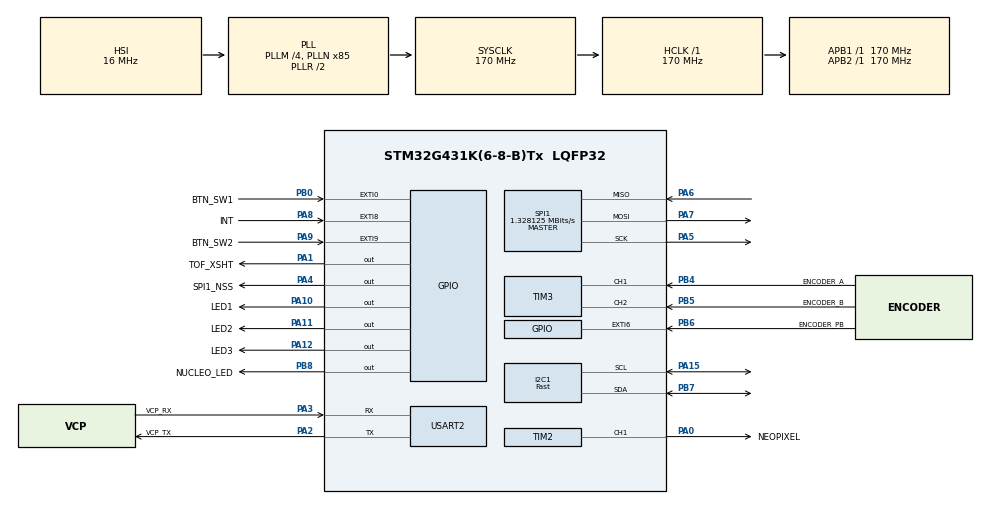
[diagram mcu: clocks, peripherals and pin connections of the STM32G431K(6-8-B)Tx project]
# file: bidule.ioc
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Dma.Request0=TIM2_CH1
Dma.Request1=TIM3_UP
Dma.TIM2_CH1.0.Direction=DMA_MEMORY_TO_PERIPH
Dma.TIM2_CH1.0.EventEnable=DISABLE
Dma.TIM2_CH1.0.Instance=DMA1_Channel1
Dma.TIM2_CH1.0.MemDataAlignment=DMA_MDATAALIGN_BYTE
Dma.TIM2_CH1.0.MemInc=DMA_MINC_ENABLE
Dma.TIM2_CH1.0.Mode=DMA_CIRCULAR
Dma.TIM2_CH1.0.PeriphDataAlignment=DMA_PDATAALIGN_WORD
Dma.TIM2_CH1.0.PeriphInc=DMA_PINC_DISABLE
Dma.TIM2_CH1.0.Polarity=HAL_DMAMUX_REQ_GEN_RISING
Dma.TIM2_CH1.0.Priority=DMA_PRIORITY_LOW
Dma.TIM2_CH1.0.RequestNumber=1
Dma.TIM2_CH1.0.SignalID=NONE
Dma.TIM2_CH1.0.SyncEnable=DISABLE
Dma.TIM2_CH1.0.SyncPolarity=HAL_DMAMUX_SYNC_NO_EVENT
Dma.TIM2_CH1.0.SyncRequestNumber=1
Dma.TIM2_CH1.0.SyncSignalID=NONE
Dma.TIM3_UP.1.Direction=DMA_PERIPH_TO_MEMORY
Dma.TIM3_UP.1.EventEnable=DISABLE
Dma.TIM3_UP.1.Instance=DMA1_Channel2
Dma.TIM3_UP.1.MemDataAlignment=DMA_MDATAALIGN_HALFWORD
Dma.TIM3_UP.1.MemInc=DMA_MINC_ENABLE
Dma.TIM3_UP.1.Mode=DMA_NORMAL
Dma.TIM3_UP.1.PeriphDataAlignment=DMA_PDATAALIGN_HALFWORD
Dma.TIM3_UP.1.PeriphInc=DMA_PINC_DISABLE
Dma.TIM3_UP.1.Polarity=HAL_DMAMUX_REQ_GEN_RISING
Dma.TIM3_UP.1.Priority=DMA_PRIORITY_LOW
Dma.TIM3_UP.1.RequestNumber=1
Dma.TIM3_UP.1.SignalID=NONE
Dma.TIM3_UP.1.SyncEnable=DISABLE
Dma.TIM3_UP.1.SyncPolarity=HAL_DMAMUX_SYNC_NO_EVENT
Dma.TIM3_UP.1.SyncRequestNumber=1
Dma.TIM3_UP.1.SyncSignalID=NONE
I2C1.I2C_Speed_Mode=I2C_Fast
I2C1.Timing=0x40621236
Mcu.Family=STM32G4
Mcu.Name=STM32G431K(6-8-B)Tx
Mcu.Package=LQFP32
NVIC.DMA1_Channel1_IRQn=true\:0\:0\:false\:false\:true\:false\:true\:true
NVIC.DMA1_Channel2_IRQn=true\:0\:0\:false\:false\:true\:false\:true\:true
NVIC.EXTI0_IRQn=true\:0\:0\:false\:false\:true\:true\:true\:true
NVIC.EXTI9_5_IRQn=true\:0\:0\:false\:false\:true\:true\:true\:true
NVIC.I2C1_ER_IRQn=true\:0\:0\:false\:false\:true\:true\:true\:true
NVIC.I2C1_EV_IRQn=true\:0\:0\:false\:false\:true\:true\:true\:true
NVIC.PriorityGroup=NVIC_PRIORITYGROUP_4
NVIC.TIM2_IRQn=true\:0\:0\:false\:false\:true\:true\:true\:true
NVIC.TIM3_IRQn=true\:0\:0\:false\:false\:true\:true\:true\:true
PA0.GPIO_Label=NEOPIXEL
PA0.Signal=S_TIM2_CH1
PA1.GPIO_Label=TOF_XSHT
PA1.Signal=GPIO_Output
PA10.GPIO_Label=LED1
PA10.Signal=GPIO_Output
PA11.GPIO_Label=LED2
PA11.Signal=GPIO_Output
PA12.GPIO_Label=LED3
PA12.Signal=GPIO_Output
PA13.GPIO_Label=T_SWDIO
PA13.Mode=Trace_Asynchronous_SW
PA13.Signal=SYS_JTMS-SWDIO
PA14.GPIO_Label=T_SWCLK
PA14.Mode=Trace_Asynchronous_SW
PA14.Signal=SYS_JTCK-SWCLK
PA15.GPIO_Pu=GPIO_PULLUP
PA15.Mode=I2C
PA15.Signal=I2C1_SCL
PA2.GPIO_Label=VCP_TX
PA2.Mode=Asynchronous
PA2.Signal=USART2_TX
PA3.GPIO_Label=VCP_RX
PA3.Mode=Asynchronous
PA3.Signal=USART2_RX
PA4.GPIO_Label=SPI1_NSS
PA4.PinState=GPIO_PIN_SET
PA4.Signal=GPIO_Output
PA5.GPIO_Speed=GPIO_SPEED_FREQ_LOW
PA5.Mode=Full_Duplex_Master
PA5.Signal=SPI1_SCK
PA6.GPIO_Speed=GPIO_SPEED_FREQ_LOW
PA6.Mode=Full_Duplex_Master
PA6.Signal=SPI1_MISO
PA7.GPIO_Speed=GPIO_SPEED_FREQ_LOW
PA7.Mode=Full_Duplex_Master
PA7.Signal=SPI1_MOSI
PA8.GPIO_Label=INT
PA8.Signal=GPXTI8
PA9.GPIO_Label=BTN_SW2
PA9.GPIO_ModeDefaultEXTI=GPIO_MODE_IT_FALLING
PA9.GPIO_PuPd=GPIO_PULLUP
PA9.Signal=GPXTI9
PB0.GPIO_Label=BTN_SW1
PB0.GPIO_ModeDefaultEXTI=GPIO_MODE_IT_FALLING
PB0.GPIO_PuPd=GPIO_PULLUP
PB0.Signal=GPXTI0
PB3.GPIO_Label=T_SWO
PB3.Mode=Trace_Asynchronous_SW
PB3.Signal=SYS_JTDO-SWO
PB4.GPIO_Label=ENCODER_A
PB4.GPIO_PuPd=GPIO_PULLUP
PB4.Signal=S_TIM3_CH1
PB5.GPIO_Label=ENCODER_B
PB5.GPIO_PuPd=GPIO_PULLUP
PB5.Signal=S_TIM3_CH2
PB6.GPIO_Label=ENCODER_PB
PB6.GPIO_PuPd=GPIO_PULLUP
PB6.Signal=GPXTI6
PB7.GPIO_Pu=GPIO_PULLUP
PB7.Mode=I2C
PB7.Signal=I2C1_SDA
PB8-BOOT0.GPIO_Label=NUCLEO_LED
PB8-BOOT0.Signal=GPIO_Output
ProjectManager.HeapSize=0x200
ProjectManager.StackSize=0x400
ProjectManager.TargetToolchain=CMake
RCC.ADC12Freq_Value=170000000
RCC.AHBFreq_Value=170000000
RCC.APB1Freq_Value=170000000
RCC.APB1TimFreq_Value=170000000
RCC.APB2Freq_Value=170000000
RCC.APB2TimFreq_Value=170000000
RCC.CortexFreq_Value=170000000
RCC.EXTERNAL_CLOCK_VALUE=12288000
RCC.HCLKFreq_Value=170000000
RCC.HSE_VALUE=8000000
RCC.HSI48_VALUE=48000000
RCC.HSI_VALUE=16000000
RCC.LSE_VALUE=32768
RCC.PLLM=RCC_PLLM_DIV4
RCC.PLLN=85
RCC.SYSCLKFreq_VALUE=170000000
RCC.SYSCLKSource=RCC_SYSCLKSOURCE_PLLCLK
RCC.USBFreq_Value=170000000
RCC.VCOOutputFreq_Value=340000000
SH.S_TIM2_CH1.0=TIM2_CH1,PWM Generation1 CH1
SH.S_TIM3_CH1.0=TIM3_CH1,Encoder_Interface
SH.S_TIM3_CH2.0=TIM3_CH2,Encoder_Interface
SPI1.BaudRatePrescaler=SPI_BAUDRATEPRESCALER_128
SPI1.CLKPhase=SPI_PHASE_2EDGE
SPI1.CLKPolarity=SPI_POLARITY_HIGH
SPI1.CalculateBaudRate=1.328125 MBits/s
SPI1.DataSize=SPI_DATASIZE_8BIT
SPI1.Direction=SPI_DIRECTION_2LINES
SPI1.Mode=SPI_MODE_MASTER
SPI1.VirtualType=VM_MASTER
TIM2.Channel-PWM\ Generation1\ CH1=TIM_CHANNEL_1
TIM2.PeriodNoDither=212
USART2.VirtualMode-Asynchronous=VM_ASYNC
VP_SYS_VS_DBSignals.Mode=DisableDeadBatterySignals
board=NUCLEO-G431KB

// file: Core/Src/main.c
/* USER CODE BEGIN Header */
/**
  ******************************************************************************
  * @file           : main.c
  * @brief          : Main program body
  ******************************************************************************
  * @attention
  *
  * Copyright (c) 2026 STMicroelectronics.
  * All rights reserved.
  *
  * This software is licensed under terms that can be found in the LICENSE file
  * in the root directory of this software component.
  * If no LICENSE file comes with this software, it is provided AS-IS.
  *
  ******************************************************************************
  */
/* USER CODE END Header */
#include "main.h"
#include "dma.h"
#include "i2c.h"
#include "spi.h"
#include "tim.h"
#include "usart.h"
#include "gpio.h"

/* USER CODE BEGIN Includes */
#include <stdbool.h>
#include <stdio.h>
#include <string.h>
/* USER CODE END Includes */

/* USER CODE BEGIN PTD */
typedef struct {
  uint8_t r;
  uint8_t g;
  uint8_t b;
} color_t;
/* USER CODE END PTD */

/* USER CODE BEGIN PD */
#define LED_BLINK_PERIOD   250      // ms

/* NeoPixel : TIM2 a 170 MHz, Prescaler = 0, Counter Period (ARR) = 212
 * -> periode d'un bit = 213 ticks = 1,25 us
 * -> bit 0 : T0H ~ 0,4 us = 68 ticks
 * -> bit 1 : T1H ~ 0,8 us = 136 ticks
 * A adapter si tes valeurs du TD NeoPixel sont differentes. */
#define CCR_BIT0           68
#define CCR_BIT1           136

#define NB_LED             1
#define NB_CHANNELS        3        // G, R, B
#define NB_BITS_PER_CHAN   8
#define NB_BITS            (NB_LED * NB_CHANNELS * NB_BITS_PER_CHAN)
#define BUFFER_SIZE        (NB_BITS + 1)   // +1 : zero final (Q11), sortie a l'etat bas

#define HUE_STEP           5        // degres de teinte par impulsion d'encodeur
#define HSV_S              250
#define HSV_V              50
/* USER CODE END PD */

/* USER CODE BEGIN PV */
/* Drapeaux ecrits en interruption, lus dans la boucle -> volatile */
static volatile bool     sw1_pressed = false;
static volatile bool     sw2_pressed = false;
static volatile bool     np_busy     = false;
static volatile uint32_t np_end_tick = 0;

/* Buffer DMA : global, il doit rester valide pendant tout le transfert */
static uint8_t np_buffer[BUFFER_SIZE];
/* USER CODE END PV */

void SystemClock_Config(void);

/* USER CODE BEGIN 0 */

/* ---------- Conversion HSV -> RGB (fournie dans le cours) ---------- */
static void hsv_to_rgb(int h, int s, int v, uint8_t *r, uint8_t *g, uint8_t *b) {
  h = ((h % 360) + 360) % 360;
  if (s <= 0) {
    *r = *g = *b = (uint8_t)v;
    return;
  }

  int region = h / 60;
  int rem = h % 60;
  int p = (v * (255 - s)) / 255;
  int q = (v * (255 - (s * rem) / 60)) / 255;
  int t = (v * (255 - (s * (60 - rem)) / 60)) / 255;

  switch (region) {
    case 0:  *r = (uint8_t)v; *g = (uint8_t)t; *b = (uint8_t)p; break;
    case 1:  *r = (uint8_t)q; *g = (uint8_t)v; *b = (uint8_t)p; break;
    case 2:  *r = (uint8_t)p; *g = (uint8_t)v; *b = (uint8_t)t; break;
    case 3:  *r = (uint8_t)p; *g = (uint8_t)q; *b = (uint8_t)v; break;
    case 4:  *r = (uint8_t)t; *g = (uint8_t)p; *b = (uint8_t)v; break;
    default: *r = (uint8_t)v; *g = (uint8_t)p; *b = (uint8_t)q; break;
  }
}

/* ---------- Couleur -> buffer de valeurs CCR ---------- */
/* Ordre WS2812B : G, R, B, bit de poids fort (MSB) en premier */
static void color_to_buffer(color_t *color, uint8_t *buffer) {
  uint8_t channels[NB_CHANNELS] = { color->g, color->r, color->b };
  int idx = 0;

  for (int c = 0; c < NB_CHANNELS; c++) {
    for (int bit = NB_BITS_PER_CHAN - 1; bit >= 0; bit--) {
      buffer[idx++] = (channels[c] & (1 << bit)) ? CCR_BIT1 : CCR_BIT0;
    }
  }
  buffer[idx] = 0;   // zero final : la sortie reste a l'etat bas apres la trame
}

/* ---------- Foreground : interruptions ---------- */
void HAL_GPIO_EXTI_Callback(uint16_t GPIO_Pin) {
  switch (GPIO_Pin) {
    case BTN_SW1_Pin: sw1_pressed = true; break;
    case BTN_SW2_Pin: sw2_pressed = true; break;
    default: break;
  }
}

/* Appelee a la fin du transfert DMA TIM2_CH1 */
void HAL_TIM_PWM_PulseFinishedCallback(TIM_HandleTypeDef *htim) {
  if (htim->Instance == TIM2) {
    HAL_TIM_PWM_Stop_DMA(htim, TIM_CHANNEL_1);
    np_end_tick = HAL_GetTick();
    np_busy = false;
  }
}

/* ---------- NeoPixel ---------- */
/* Pret si aucun transfert en cours ET temps de reset ecoule.
 * >= 2 ticks garantit au moins 1 ms reelle (resolution de HAL_GetTick). */
static bool np_ready(void) {
  return !np_busy && ((HAL_GetTick() - np_end_tick) >= 2);
}

static void np_send(color_t *c) {
  color_to_buffer(c, np_buffer);
  np_busy = true;
  if (HAL_TIM_PWM_Start_DMA(&htim2, TIM_CHANNEL_1,
                            (uint32_t *)np_buffer, BUFFER_SIZE) != HAL_OK) {
    np_busy = false;   // l'envoi n'a pas demarre
  }
}

/* ---------- UART (Tera Term) ---------- */
static void uart_print(const char *s) {
  HAL_UART_Transmit(&huart2, (uint8_t *)s, strlen(s), 100);
}

/* USER CODE END 0 */

int main(void)
{

  /* MCU Configuration--------------------------------------------------------*/

  /* Reset of all peripherals, Initializes the Flash interface and the Systick. */
  HAL_Init();

  /* Configure the system clock */
  SystemClock_Config();

  /* Initialize all configured peripherals */
  MX_GPIO_Init();
  MX_DMA_Init();
  MX_I2C1_Init();
  MX_TIM3_Init();
  MX_TIM2_Init();
  MX_USART2_UART_Init();
  MX_SPI1_Init();
  /* USER CODE BEGIN 2 */
  HAL_TIM_Encoder_Start(&htim3, TIM_CHANNEL_ALL);

  int16_t  last_enc    = (int16_t)__HAL_TIM_GET_COUNTER(&htim3);
  bool     need_update = true;     // envoie une premiere couleur au demarrage (rouge si enc = 0)
  uint32_t last_toggle = HAL_GetTick();
  char     msg[64];

  uart_print("\r\n--- Encodeur -> NeoPixel ---\r\n");
  /* USER CODE END 2 */

  /* Infinite loop */
  while (1)
  {

    /* USER CODE BEGIN 3 */

    /* 1. Clignotement LED1, non bloquant */
    if ((HAL_GetTick() - last_toggle) >= LED_BLINK_PERIOD) {
      last_toggle += LED_BLINK_PERIOD;
      HAL_GPIO_TogglePin(LED1_GPIO_Port, LED1_Pin);
    }

    /* 2. Boutons (drapeaux leves en interruption) */
    if (sw1_pressed) {
      sw1_pressed = false;
      HAL_GPIO_TogglePin(LED2_GPIO_Port, LED2_Pin);
    }
    if (sw2_pressed) {
      sw2_pressed = false;
      HAL_GPIO_TogglePin(LED3_GPIO_Port, LED3_Pin);
    }

    /* 3. Lecture de l'encodeur */
    int16_t enc = (int16_t)__HAL_TIM_GET_COUNTER(&htim3);
    if (enc != last_enc) {
      last_enc = enc;
      need_update = true;
    }

    /* 4. Envoi a la NeoPixel seulement si changement ET pret */
    if (need_update && np_ready()) {
      need_update = false;

      int hue = enc * HUE_STEP;
      color_t c;
      hsv_to_rgb(hue, HSV_S, HSV_V, &c.r, &c.g, &c.b);
      np_send(&c);

      snprintf(msg, sizeof(msg), "enc = %6d  hue = %3d  R=%3u G=%3u B=%3u\r\n",
               enc, ((hue % 360) + 360) % 360, c.r, c.g, c.b);
      uart_print(msg);
    }
  }
  /* USER CODE END 3 */
}

void SystemClock_Config(void)
{
  RCC_OscInitTypeDef RCC_OscInitStruct = {0};
  RCC_ClkInitTypeDef RCC_ClkInitStruct = {0};

  /** Configure the main internal regulator output voltage
  */
  HAL_PWREx_ControlVoltageScaling(PWR_REGULATOR_VOLTAGE_SCALE1_BOOST);

  /** Initializes the RCC Oscillators according to the specified parameters
  * in the RCC_OscInitTypeDef structure.
  */
  RCC_OscInitStruct.OscillatorType = RCC_OSCILLATORTYPE_HSI;
  RCC_OscInitStruct.HSIState = RCC_HSI_ON;
  RCC_OscInitStruct.HSICalibrationValue = RCC_HSICALIBRATION_DEFAULT;
  RCC_OscInitStruct.PLL.PLLState = RCC_PLL_ON;
  RCC_OscInitStruct.PLL.PLLSource = RCC_PLLSOURCE_HSI;
  RCC_OscInitStruct.PLL.PLLM = RCC_PLLM_DIV4;
  RCC_OscInitStruct.PLL.PLLN = 85;
  RCC_OscInitStruct.PLL.PLLP = RCC_PLLP_DIV2;
  RCC_OscInitStruct.PLL.PLLQ = RCC_PLLQ_DIV2;
  RCC_OscInitStruct.PLL.PLLR = RCC_PLLR_DIV2;
  if (HAL_RCC_OscConfig(&RCC_OscInitStruct) != HAL_OK)
  {
    Error_Handler();
  }

  /** Initializes the CPU, AHB and APB buses clocks
  */
  RCC_ClkInitStruct.ClockType = RCC_CLOCKTYPE_HCLK|RCC_CLOCKTYPE_SYSCLK
                              |RCC_CLOCKTYPE_PCLK1|RCC_CLOCKTYPE_PCLK2;
  RCC_ClkInitStruct.SYSCLKSource = RCC_SYSCLKSOURCE_PLLCLK;
  RCC_ClkInitStruct.AHBCLKDivider = RCC_SYSCLK_DIV1;
  RCC_ClkInitStruct.APB1CLKDivider = RCC_HCLK_DIV1;
  RCC_ClkInitStruct.APB2CLKDivider = RCC_HCLK_DIV1;

  if (HAL_RCC_ClockConfig(&RCC_ClkInitStruct, FLASH_LATENCY_4) != HAL_OK)
  {
    Error_Handler();
  }
}

void Error_Handler(void)
{
  __disable_irq();
  while (1)
  {
  }
}
